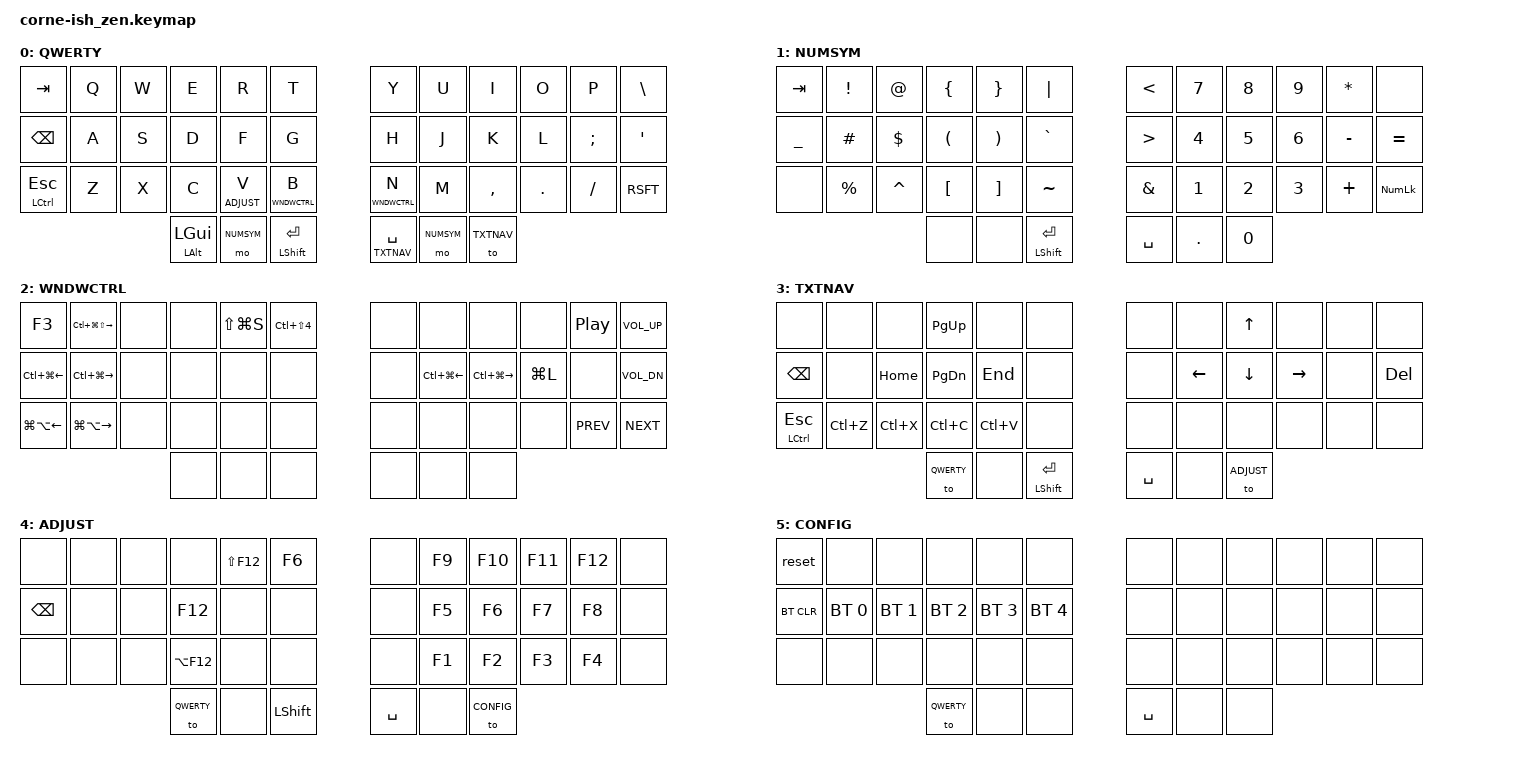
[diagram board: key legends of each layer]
/*
*
* Copyright (c) 2021 lowprokb.ca
* SPDX-License-Identifier: MIT
*
*/

#include <behaviors.dtsi>
#include <dt-bindings/zmk/keys.h>
#include <dt-bindings/zmk/bt.h>

#define QWERTY   0
#define NUMSYM   1
#define WNDWCTRL 2
#define TXTNAV   3
#define ADJUST   4
#define CONFIG   5

/ {
        behaviors {
                  hm: homerow_mods {
                        compatible = "zmk,behavior-hold-tap";
                        label = "HOMEROW_MODS";
                        #binding-cells = <2>;
                        tapping-term-ms = <150>;
                        quick_tap_ms = <0>;
                        flavor = "tap-preferred";
                        bindings = <&kp>, <&kp>;
                        };

                  };
        keymap {
                compatible = "zmk,keymap";

                default_layer {
                        label = "QWERTY";
                        bindings = <
                 &kp TAB   &kp Q &kp W &kp E &kp R &kp T         &kp Y            &kp U      &kp I      &kp O   &kp P     &kp BSLH
 &kp BKSP  &kp A &kp S &kp D &kp F &kp G                         &kp H            &kp J      &kp K      &kp L   &kp SEMI  &kp QUOT
&mt LCTL ESC &kp Z &kp X &kp C &lt ADJUST V &lt WNDWCTRL B       &lt WNDWCTRL N            &kp M      &kp CMMA   &kp DOT &kp FSLH  &kp RSFT
                 &mt LALT LGUI &mo NUMSYM &mt LSHFT ENTER        &lt TXTNAV SPC &mo NUMSYM  &to TXTNAV 
                        >;
                };


                numpad_layer {
                        label = "NUMSYM";
                        bindings = < 
     &kp TAB   &kp EXCL &kp AT &kp LBRC &kp RBRC &kp PIPE       &kp LT    &kp N7  &kp N8 &kp N9 &kp ASTRK  &none
&kp UNDER &kp HASH  &kp DLLR  &kp LPAR &kp RPAR &kp GRAVE       &kp GT    &kp N4  &kp N5 &kp N6 &kp MINUS  &kp EQUAL
    &none &kp PRCNT &kp CARET &kp LBKT &kp RBKT &kp TILDE       &kp AMPS  &kp N1  &kp N2 &kp N3 &kp PLUS   &kp KP_NLCK
                              &none &none &mt LSHFT ENTER       &kp SPC   &kp DOT &kp N0
                        >;
                };

                wincontrol_layer {
                        label = "WNDWCTRL";
                        bindings = <
   &kp F3                &kp LC(LG(LS(RIGHT))) &none     &none      &kp LS(LG(S))  &kp LC(LS(4))      &none &none                                &none      &none       &kp C_PP    &kp C_VOL_UP
   &kp LC(LG(LEFT))      &kp LC(LG(RIGHT))     &none     &none      &none          &none              &none &kp LC(LG(LEFT))  &kp LC(LG(RIGHT))  &kp LG(L)  &none       &kp C_VOL_DN
   &kp LG(LA(LEFT))      &kp LG(LA(RIGHT))     &none     &none      &none          &none              &none &none             &none              &none      &kp C_PREV  &kp C_NEXT
                                                         &none      &none          &none              &none &none             &none
                        >;
                };
                
                textnav_layer {
                        label = "TXTNAV";
                        bindings = <
   &none          &none      &none        &kp PG_UP    &none      &none                    &none     &none      &kp UP     &none      &none   &none
   &kp BKSP       &none      &kp HOME     &kp PG_DN    &kp END    &none                    &none     &kp LEFT   &kp DOWN   &kp RIGHT  &none  &kp DEL
   &mt LCTL ESC   &kp LC(Z)  &kp LC(X)    &kp LC(C)    &kp LC(V)  &none                    &none     &none      &none      &none      &none   &none
                                          &to QWERTY   &none      &mt LSHFT ENTER          &kp SPC   &none      &to ADJUST       
                        >;
                };
                
                adjust_layer {
                        label = "ADJUST";
                        bindings = <
   &none      &none  &none    &none         &kp LS(F12)   &kp F6          &none   &kp F9     &kp F10     &kp F11  &kp F12    &none
   &kp BKSP   &none  &none    &kp F12       &none         &none           &none   &kp F5     &kp F6      &kp F7   &kp F8       &none
   &none      &none  &none    &kp LA(F12)   &none         &none           &none   &kp F1     &kp F2      &kp F3   &kp F4      &none
                              &to QWERTY    &none         &kp LSHFT       &kp SPC &none      &to CONFIG
                        >;
                };

                config_layer {
                        label = "CONFIG";
                        bindings = <
   &reset     &none        &none        &none        &none        &none           &none   &none &none &none &none &none
   &bt BT_CLR &bt BT_SEL 0 &bt BT_SEL 1 &bt BT_SEL 2 &bt BT_SEL 3 &bt BT_SEL 4    &none   &none &none &none &none &none
   &none      &none        &none        &none        &none        &none           &none   &none &none &none &none &none
                                        &to QWERTY   &none        &none           &kp SPC &none &none
                        >;
                };
        };
};

/* 
empty layer template
                empty_layer {
                        label = "CONFIG";
                        bindings = <
   &none    &none  &none  &none  &none  &none            &none   &none   &none   &none  &none  &none
   &none    &none  &none  &none  &none  &none            &none   &none   &none   &none  &none  &none
   &none    &none  &none  &none  &none  &none            &none   &none   &none   &none  &none  &none
                          &none  &none  &none            &none   &none   &none 
                        >;
                };
*/
